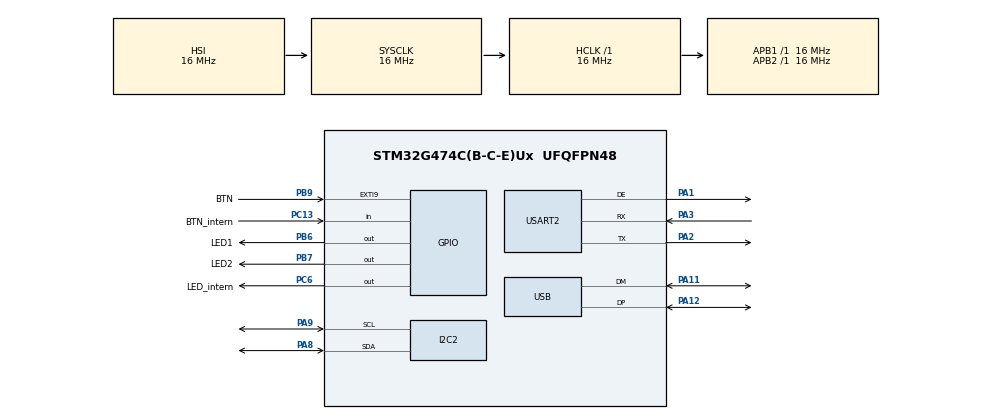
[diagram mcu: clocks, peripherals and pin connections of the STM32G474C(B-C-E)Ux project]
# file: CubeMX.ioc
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I2C2.Timing=0x00503D58
Mcu.Family=STM32G4
Mcu.Name=STM32G474C(B-C-E)Ux
Mcu.Package=UFQFPN48
NVIC.PriorityGroup=NVIC_PRIORITYGROUP_4
NVIC.USB_LP_IRQn=true\:0\:0\:false\:false\:true\:false\:true\:true
PA1.Mode=Hardware Flow Control (RS485)
PA1.Signal=USART2_DE
PA11.Mode=Device
PA11.Signal=USB_DM
PA12.Mode=Device
PA12.Signal=USB_DP
PA13.Mode=Serial_Wire
PA13.Signal=SYS_JTMS-SWDIO
PA14.Mode=Serial_Wire
PA14.Signal=SYS_JTCK-SWCLK
PA2.Mode=Asynchronous
PA2.Signal=USART2_TX
PA3.Mode=Asynchronous
PA3.Signal=USART2_RX
PA8.Mode=I2C
PA8.Signal=I2C2_SDA
PA9.Mode=I2C
PA9.Signal=I2C2_SCL
PB6.GPIO_Label=LED1
PB6.Signal=GPIO_Output
PB7.GPIO_Label=LED2
PB7.Signal=GPIO_Output
PB9.GPIO_Label=BTN
PB9.Signal=GPXTI9
PC13.GPIO_Label=BTN_intern
PC13.GPIO_PuPd=GPIO_PULLUP
PC13.Signal=GPIO_Input
PC6.GPIO_Label=LED_intern
PC6.Signal=GPIO_Output
ProjectManager.HeapSize=0x200
ProjectManager.StackSize=0x400
ProjectManager.TargetToolchain=CMake
RCC.AHBFreq_Value=16000000
RCC.APB1Freq_Value=16000000
RCC.APB1TimFreq_Value=16000000
RCC.APB2Freq_Value=16000000
RCC.APB2TimFreq_Value=16000000
RCC.CortexFreq_Value=16000000
RCC.EXTERNAL_CLOCK_VALUE=12288000
RCC.HCLKFreq_Value=16000000
RCC.HSE_VALUE=8000000
RCC.HSI48_VALUE=48000000
RCC.HSI_VALUE=16000000
RCC.LSE_VALUE=32768
RCC.PLLN=12
RCC.PLLQ=RCC_PLLQ_DIV4
RCC.SYSCLKFreq_VALUE=16000000
RCC.USBFreq_Value=48000000
RCC.VCOOutputFreq_Value=192000000
USART2.VirtualMode-Asynchronous=VM_ASYNC
USART2.VirtualMode-Hardware\ Flow\ Control\ (RS485)=VM_ASYNC
USB_DEVICE.CLASS_NAME_FS=CDC
USB_DEVICE.VirtualMode=Cdc
USB_DEVICE.VirtualModeFS=Cdc_FS
VP_SYS_VS_DBSignals.Mode=DisableDeadBatterySignals
VP_USB_DEVICE_VS_USB_DEVICE_CDC_FS.Mode=CDC_FS
board=custom

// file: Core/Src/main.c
/* USER CODE BEGIN Header */
/**
  ******************************************************************************
  * @file           : main.c
  * @brief          : Main program body
  ******************************************************************************
  * @attention
  *
  * Copyright (c) 2026 STMicroelectronics.
  * All rights reserved.
  *
  * This software is licensed under terms that can be found in the LICENSE file
  * in the root directory of this software component.
  * If no LICENSE file comes with this software, it is provided AS-IS.
  *
  ******************************************************************************
  */
/* USER CODE END Header */
#include "main.h"
#include "i2c.h"
#include "usart.h"
#include "usb_device.h"
#include "gpio.h"

/* USER CODE BEGIN Includes */
#include <string.h>
/* USER CODE END Includes */

/* USER CODE BEGIN PV */
uint32_t last_heartbeat_tick = 0;
uint32_t last_button_tick = 0;
GPIO_PinState last_button_state = GPIO_PIN_SET; // Assumption: Pull-up on PC13
const uint32_t debounce_delay = 50; // 50ms debounce
/* USER CODE END PV */

void SystemClock_Config(void);

int main(void)
{

  /* MCU Configuration--------------------------------------------------------*/

  /* Reset of all peripherals, Initializes the Flash interface and the Systick. */
  HAL_Init();

  /* Configure the system clock */
  SystemClock_Config();

  /* Initialize all configured peripherals */
  MX_GPIO_Init();
  MX_I2C2_Init();
  MX_USART2_UART_Init();
  MX_USB_Device_Init();

  /* Infinite loop */
  /* USER CODE BEGIN WHILE */
  while (1)
  {
    // 1. Heartbeat LED (1Hz = 500ms Toggle) on PC6 (LED_intern)
    if (HAL_GetTick() - last_heartbeat_tick >= 500)
    {
      HAL_GPIO_TogglePin(LED_intern_GPIO_Port, LED_intern_Pin);
      last_heartbeat_tick = HAL_GetTick();
    }

    // 2. Debounced Button Read on PC13 (BTN_intern)
    GPIO_PinState current_button_state = HAL_GPIO_ReadPin(BTN_intern_GPIO_Port, BTN_intern_Pin);

    // Trigger on falling edge (button pressed)
    if (current_button_state == GPIO_PIN_RESET && last_button_state == GPIO_PIN_SET)
    {
      if (HAL_GetTick() - last_button_tick >= debounce_delay)
      {
        // Toggle external LED on PB6 just for visual confirmation
        HAL_GPIO_TogglePin(LED1_GPIO_Port, LED1_Pin);

        // Send Test String via USART2
        char msg[] = "Button Pressed! USART2 RS485 Status: OK\r\n";
        HAL_UART_Transmit(&huart2, (uint8_t*)msg, strlen(msg), HAL_MAX_DELAY);

        last_button_tick = HAL_GetTick();
      }
    }
    last_button_state = current_button_state;

    /* USER CODE END WHILE */

  }
}

void SystemClock_Config(void)
{
  RCC_OscInitTypeDef RCC_OscInitStruct = {0};
  RCC_ClkInitTypeDef RCC_ClkInitStruct = {0};

  /** Configure the main internal regulator output voltage
  */
  HAL_PWREx_ControlVoltageScaling(PWR_REGULATOR_VOLTAGE_SCALE1);

  /** Initializes the RCC Oscillators according to the specified parameters
  * in the RCC_OscInitTypeDef structure.
  */
  RCC_OscInitStruct.OscillatorType = RCC_OSCILLATORTYPE_HSI;
  RCC_OscInitStruct.HSIState = RCC_HSI_ON;
  RCC_OscInitStruct.HSICalibrationValue = RCC_HSICALIBRATION_DEFAULT;
  RCC_OscInitStruct.PLL.PLLState = RCC_PLL_ON;
  RCC_OscInitStruct.PLL.PLLSource = RCC_PLLSOURCE_HSI;
  RCC_OscInitStruct.PLL.PLLM = RCC_PLLM_DIV1;
  RCC_OscInitStruct.PLL.PLLN = 12;
  RCC_OscInitStruct.PLL.PLLP = RCC_PLLP_DIV2;
  RCC_OscInitStruct.PLL.PLLQ = RCC_PLLQ_DIV4;
  RCC_OscInitStruct.PLL.PLLR = RCC_PLLR_DIV2;
  if (HAL_RCC_OscConfig(&RCC_OscInitStruct) != HAL_OK)
  {
    Error_Handler();
  }

  /** Initializes the CPU, AHB and APB buses clocks
  */
  RCC_ClkInitStruct.ClockType = RCC_CLOCKTYPE_HCLK|RCC_CLOCKTYPE_SYSCLK
                              |RCC_CLOCKTYPE_PCLK1|RCC_CLOCKTYPE_PCLK2;
  RCC_ClkInitStruct.SYSCLKSource = RCC_SYSCLKSOURCE_HSI;
  RCC_ClkInitStruct.AHBCLKDivider = RCC_SYSCLK_DIV1;
  RCC_ClkInitStruct.APB1CLKDivider = RCC_HCLK_DIV1;
  RCC_ClkInitStruct.APB2CLKDivider = RCC_HCLK_DIV1;

  if (HAL_RCC_ClockConfig(&RCC_ClkInitStruct, FLASH_LATENCY_0) != HAL_OK)
  {
    Error_Handler();
  }
}

void Error_Handler(void)
{
  __disable_irq();
  while (1)
  {
  }
}
